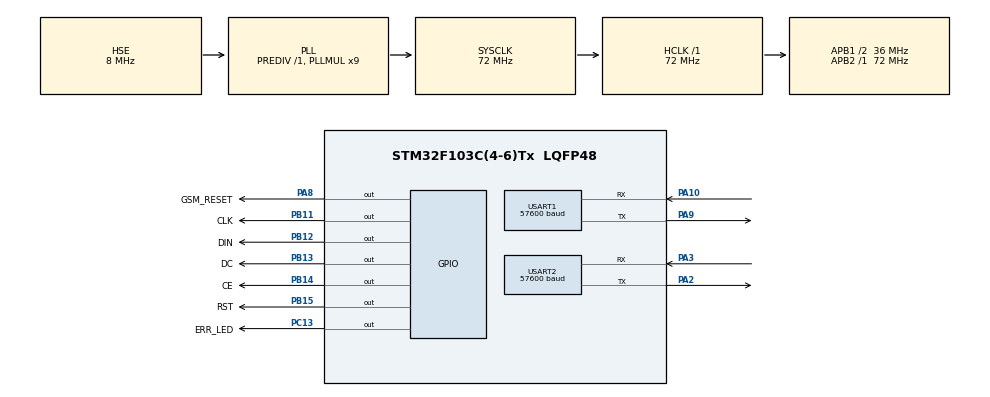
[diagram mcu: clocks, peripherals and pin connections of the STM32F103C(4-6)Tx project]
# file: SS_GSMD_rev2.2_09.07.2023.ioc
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Mcu.Family=STM32F1
Mcu.Name=STM32F103C(4-6)Tx
Mcu.Package=LQFP48
NVIC.PriorityGroup=NVIC_PRIORITYGROUP_4
NVIC.TIM1_UP_IRQn=true\:0\:0\:false\:false\:true\:true\:true\:true
NVIC.USART1_IRQn=true\:0\:0\:false\:false\:true\:true\:true\:true
NVIC.USART2_IRQn=true\:0\:0\:false\:false\:true\:true\:true\:true
PA10.Mode=Asynchronous
PA10.Signal=USART1_RX
PA13.Mode=Serial_Wire
PA13.Signal=SYS_JTMS-SWDIO
PA14.Mode=Serial_Wire
PA14.Signal=SYS_JTCK-SWCLK
PA2.Mode=Asynchronous
PA2.Signal=USART2_TX
PA3.Mode=Asynchronous
PA3.Signal=USART2_RX
PA8.GPIO_Label=GSM_RESET
PA8.Signal=GPIO_Output
PA9.Mode=Asynchronous
PA9.Signal=USART1_TX
PB11.GPIO_Label=CLK
PB11.Signal=GPIO_Output
PB12.GPIO_Label=DIN
PB12.Signal=GPIO_Output
PB13.GPIO_Label=DC
PB13.Signal=GPIO_Output
PB14.GPIO_Label=CE
PB14.Signal=GPIO_Output
PB15.GPIO_Label=RST
PB15.Signal=GPIO_Output
PC13-TAMPER-RTC.GPIO_Label=ERR_LED
PC13-TAMPER-RTC.Signal=GPIO_Output
PD0-OSC_IN.Mode=HSE-External-Oscillator
PD0-OSC_IN.Signal=RCC_OSC_IN
PD1-OSC_OUT.Mode=HSE-External-Oscillator
PD1-OSC_OUT.Signal=RCC_OSC_OUT
ProjectManager.HeapSize=0x200
ProjectManager.StackSize=0x400
ProjectManager.TargetToolchain=STM32CubeIDE
RCC.AHBFreq_Value=72000000
RCC.APB1CLKDivider=RCC_HCLK_DIV2
RCC.APB1Freq_Value=36000000
RCC.APB1TimFreq_Value=72000000
RCC.APB2Freq_Value=72000000
RCC.APB2TimFreq_Value=72000000
RCC.HCLKFreq_Value=72000000
RCC.PLLMUL=RCC_PLL_MUL9
RCC.PLLSourceVirtual=RCC_PLLSOURCE_HSE
RCC.SYSCLKFreq_VALUE=72000000
RCC.SYSCLKSource=RCC_SYSCLKSOURCE_PLLCLK
RCC.USBFreq_Value=72000000
TIM1.Prescaler=65535
USART1.BaudRate=57600
USART1.VirtualMode=VM_ASYNC
USART2.BaudRate=57600
USART2.VirtualMode=VM_ASYNC
VP_TIM1_VS_ClockSourceINT.Mode=Internal
board=custom

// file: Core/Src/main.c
/* USER CODE BEGIN Header */
/**
  ******************************************************************************
  * @file           : main.c
  * @brief          : Main program body
  ******************************************************************************
  * @attention
  *
  * Copyright (c) 2023 STMicroelectronics.
  * All rights reserved.
  *
  * This software is licensed under terms that can be found in the LICENSE file
  * in the root directory of this software component.
  * If no LICENSE file comes with this software, it is provided AS-IS.
  *
  ******************************************************************************
  */
/* USER CODE END Header */
#include "main.h"

/* USER CODE BEGIN Includes */
#include "usart_ring.h"
#include "gsm.h"

#include "nokia5110_LCD.h"
#include "string.h"
/* USER CODE END Includes */

TIM_HandleTypeDef htim1;

UART_HandleTypeDef huart1;
UART_HandleTypeDef huart2;

/* USER CODE BEGIN PV */
volatile uint8_t flag_alarm = 0; //peremennaya dlya trevogi
//volatile uint8_t flag_armdis = 0; //peremennaya dlya postanovki snyatiya
//volatile uint8_t flag_aconoff = 0; //peremennaya dlya vklucheniya otklucheniya pitaniya

volatile uint8_t flag_signal = 0; //peremennaya dlya proverki signala
volatile uint8_t status_counter = 10; //peremennaya schetchika minut do proverki statusa

char dbi[7] = {0,}; //sozdaem masiv simvolov nujnoy dlini i inicaliziruem nulyami
char operator[14] = {0,}; //sozdaem masiv simvolov nujnoy dlini i inicaliziruem nulyami
char bat[4] = {0,}; //sozdaem masiv simvolov nujnoy dlini i inicaliziruem nulyami
char sig[4] = {0,}; //sozdaem masiv simvolov nujnoy dlini i inicaliziruem nulyami

uint32_t numbers[10] = {0,}; //nomera sim karte
/* USER CODE END PV */

void SystemClock_Config(void);
static void MX_GPIO_Init(void);
static void MX_TIM1_Init(void);
static void MX_USART1_UART_Init(void);
static void MX_USART2_UART_Init(void);

/* USER CODE BEGIN 0 */
/////////////////// удалить символы \r и \n из строки //////////////////////
static void clear_string(char *src)
{
	char *dst = NULL;
	if(!src) return;
	uint8_t i = 0;

	for(dst = src; *src; src++)
	{
		if(i < 2 && (*src == '\n' || *src == '\r'))
		{
			i++;
			continue;
		}
		else if(*src == '\n' || *src == '\r') *src = ' ';

		*dst++ = *src;
	}

	*dst = 0;
}

///////////////////// колбек таймера //////////////////////
void HAL_TIM_PeriodElapsedCallback(TIM_HandleTypeDef *htim)
{
	if(htim->Instance == TIM1)
	{
		flag_signal = 1;
	}
}

//////////////// проверка и установка скорости 19200, нужна один раз /////////////////
void chek_speed(void)
{
  for(uint8_t i = 0; i < 7; i++)
  {
	  uint32_t sp = 0;

	  if(i == 0) sp = 2400;
	  else if(i == 1) sp = 4800;
	  else if(i == 2) sp = 9600;
	  else if(i == 3) sp = 19200;
	  else if(i == 4) sp = 38400;
	  else if(i == 5) sp = 57600;
	  else if(i == 6) sp = 115200;

	  huart1.Instance = USART1;
	  huart1.Init.BaudRate = sp;
	  huart1.Init.WordLength = UART_WORDLENGTH_8B;
	  huart1.Init.StopBits = UART_STOPBITS_1;
	  huart1.Init.Parity = UART_PARITY_NONE;
	  huart1.Init.Mode = UART_MODE_TX_RX;
	  huart1.Init.HwFlowCtl = UART_HWCONTROL_NONE;
	  huart1.Init.OverSampling = UART_OVERSAMPLING_16;

	  if (HAL_UART_Init(&huart1) != HAL_OK)
	  {
		  Error_Handler();
	  }

	  char str[16] = {0,};
	  HAL_UART_Transmit(GSM, (uint8_t*)"AT\r\n", strlen("AT\r\n"), 1000);
	  HAL_Delay(300);

	  if(gsm_available()) //если модуль что-то прислал
	  {
		  uint16_t i = 0;

		  while(gsm_available())
		  {
			  str[i++] = gsm_read();
			  if(i > 15) break;
			  HAL_Delay(1);
		  }

		  if(strstr(str, "OK") != NULL)
		  {
			  char buf[64] = {0,};
			  snprintf(buf, 64, "Uart modem was %lu, switched to 57600\n", huart1.Init.BaudRate);
			  HAL_UART_Transmit(DEBUG, (uint8_t*)buf, strlen(buf), 100);
			  HAL_UART_Transmit(GSM, (uint8_t*)"AT+IPR=57600\r\n", strlen("AT+IPR=57600\r\n"), 1000);
			  HAL_Delay(250);
			  MX_USART1_UART_Init();
			  break;
		  }
	  }
  }
}

/* USER CODE END 0 */

int main(void)
{

  /* MCU Configuration--------------------------------------------------------*/

  /* Reset of all peripherals, Initializes the Flash interface and the Systick. */
  HAL_Init();

  /* Configure the system clock */
  SystemClock_Config();

  /* Initialize all configured peripherals */
  MX_GPIO_Init();
  MX_TIM1_Init();
  MX_USART1_UART_Init();
  MX_USART2_UART_Init();
  /* USER CODE BEGIN 2 */

  welcome();

  __HAL_UART_ENABLE_IT(GSM, UART_IT_RXNE);
  __HAL_UART_ENABLE_IT(DEBUG, UART_IT_RXNE);

  starting();

  char buf[GSM_RX_BUFFER_SIZE] = {0,};
  char str[GSM_RX_BUFFER_SIZE] = {0,};

  for (int var = 0; var < 10; ++var)
  {
		if(numbers[var] != 0)
		{
		snprintf(str, 15, "Num%i 0%lu", var, numbers[var]);
		HAL_UART_Transmit(DEBUG, (uint8_t*)str, strlen(str), 1000);
		HAL_UART_Transmit(DEBUG, (uint8_t*)"\n", strlen("\n"), 1000);
		LCD_print(str, 0, 2);
		HAL_Delay(1000);
		}
  }
  LCD_clrScr(); // очистить экран
  LCD_invertText(false);
  HAL_GPIO_WritePin(ERR_LED_GPIO_Port, ERR_LED_Pin, GPIO_PIN_RESET);

  HAL_TIM_Base_Start_IT(&htim1); // запуск таймера
  /* USER CODE END 2 */

  /* Infinite loop */
  /* USER CODE BEGIN WHILE */
  while (1)
  {
    if(flag_alarm == 1)
	  {
		  HAL_GPIO_WritePin(ERR_LED_GPIO_Port, ERR_LED_Pin, GPIO_PIN_SET);
		  HAL_TIM_Base_Stop_IT(&htim1); // остановка таймера
		  alarm();
		  flag_alarm = 0;
		  HAL_TIM_Base_Start_IT(&htim1); // запуск таймера
		  HAL_GPIO_WritePin(ERR_LED_GPIO_Port, ERR_LED_Pin, GPIO_PIN_RESET);
	  }

		if(flag_signal == 1)
		{
			flag_signal = 0;
			LCD_clrScr(); // очистить экран
			HAL_GPIO_WritePin(ERR_LED_GPIO_Port, ERR_LED_Pin, GPIO_PIN_SET);
			set_comand(ATCSQ); // уровень сигнала. Может быть в диапазоне 0..31, чем больше тем лучше. 99 значит отсутствие сигнала.
			set_comand(ATCBC); // // naprijenie pitaniya
			LCD_print("LABIRINT", 18, 0);
			LCD_print("ELECTRIC", 18, 1);
			LCD_print(operator, 0, 3); //vivodim na ekran soobshenie iz masiva operator po ukazannim koordinatam
			LCD_print("NET          %", 0, 4);
			LCD_print(sig, 60, 4); //vivodim na ekran soobshenie iz masiva dbi po ukazannim koordinatam
			LCD_print("BAT          %", 0, 5);
			LCD_print(bat, 60, 5);

			status_counter--;
			if(status_counter == 0)
			{
				status_counter = 10;
				LCD_invertText(true);
				LCD_print(" status check ", 0, 2);
				HAL_Delay(500);
				set_comand(ATCPAS);  // проверка статуса модема
				LCD_print("registr  check", 0, 2);
				HAL_Delay(500);
				set_comand(ATCREG);  // проверка регистрации в сети - должен вернуть  +CREG: 0,1
				LCD_clrScr(); // очистить экран
				LCD_invertText(false);
				get_date_time(); // будет раз в секунду выводить время
				LCD_print("LABIRINT", 18, 0);
				LCD_print("ELECTRIC", 18, 1);
				LCD_print(operator, 0, 3); //vivodim na ekran soobshenie iz masiva operator po ukazannim koordinatam
				LCD_print("NET          %", 0, 4);
				LCD_print(sig, 60, 4); //vivodim na ekran soobshenie iz masiva dbi po ukazannim koordinatam
				LCD_print("BAT          %", 0, 5);
				LCD_print(bat, 60, 5);
			}
			HAL_GPIO_WritePin(ERR_LED_GPIO_Port, ERR_LED_Pin, GPIO_PIN_RESET);
		}

		if(gsm_available()) //если модуль что-то прислал
		{
			uint16_t i = 0;
			uint8_t fdbg = 1;
			memset(buf, 0, GSM_RX_BUFFER_SIZE);
			HAL_Delay(50);

			while(gsm_available())
			{
				buf[i++] = gsm_read();
				if(i > GSM_RX_BUFFER_SIZE - 1) break;
				HAL_Delay(1);
			}

			clear_string(buf); // очищаем строку от символов \r и \n

			/////////////////// НАЧ�?НАЕМ РАСПОЗНАВАТЬ ЧТО ПР�?СЛАЛ МОДУЛЬ /////////////////////
			if(strstr(buf, "RING") != NULL) // ЕСЛ�? ЭТО ЗВОНОК
			{

			}
			else if(strstr(buf, "+CMT:") != NULL) // ЕСЛ�? ЭТО SMS
			{
				if(strstr(buf, "77057066") != NULL) // проверяем от кого смс
				{
					HAL_UART_Transmit(DEBUG, (uint8_t*)"Sms my number\n", strlen("Sms my number\n"), 1000);
					LCD_invertText(true);
					LCD_print("SMS           ", 0, 2);
					//LCD_print(num_1, 30, 2);
					LCD_invertText(false);
					// что-то делаем или ищем какую-то строку, которую мы послали в смс, например слово "Hello"
					if(strstr(buf, "Hello") != NULL)
					{
						HAL_UART_Transmit(DEBUG, (uint8_t*)"Reciv Hello\n", strlen("Reciv Hello\n"), 1000);
						// что-то делаем
					}
					else if(strstr(buf, "Call") != NULL) // если прилетело слово "Call" то звоним
					{
						call(); // номер указать в файле gsm.c
					}
					else if(strstr(buf, "Money") != NULL) // если отпрвить sms со словом "Money", то в ответ придёт смс с балансом (деньги) на модеме
					{
						balance(); // посылаем команду узнать баланс (мтс)
					}
				}
				else
				{
					HAL_UART_Transmit(DEBUG, (uint8_t*)"Unknow number sms\n", strlen("Unknow number sms\n"), 1000);
				}
			}
			else if(strstr(buf, "+CUSD") != NULL)  // ЕСЛ�? ЭТО СТРОКА С БАЛАНСОМ
			{
				char *p = NULL;

				if((p = strstr(buf, "Balance")) != NULL) // ищем слово "Balance"
				{
					// отправляем смс с балансом на указанный телефон, укажите нужный номер и раскомментируйте этот блок
					/*snprintf(str, GSM_RX_BUFFER_SIZE, "AT+CMGS=\"+79839655557\"\r\n"); // номер
					HAL_UART_Transmit(GSM, (uint8_t*)str, strlen(str), 1000);
					HAL_Delay(100);
					snprintf(str, GSM_RX_BUFFER_SIZE, "%s", p); // текст смс
					HAL_UART_Transmit(GSM, (uint8_t*)str, strlen(str), 1000);
					p = 0;
					HAL_Delay(100);
					snprintf(str, GSM_RX_BUFFER_SIZE, "%c", (char)26); // символ ctrl-z
					HAL_UART_Transmit(GSM, (uint8_t*)str, strlen(str), 1000);*/
					// блок закомментирован чтоб модуль не слал смски пока тестируете
				}
			}
			else if(strstr(buf, "+DTMF") != NULL)  //ЕСЛ�? ЭТО DTMF С�?ГНАЛ
			{
				if(strstr(buf, "0") != NULL) // если пришёл сигнал кнопки 0
				{
					// что-то делаем
					HAL_UART_Transmit(DEBUG, (uint8_t*)"DTMF Button 0\n", strlen("DTMF Button 0\n"), 1000);
				}
				else if(strstr(buf, "1") != NULL) // если пришёл сигнал кнопки 1
				{
					// что-то делаем
					HAL_UART_Transmit(DEBUG, (uint8_t*)"DTMF Button 1\n", strlen("DTMF Button 1\n"), 1000);
				}
				// и т.д.

				disable_connection(); // разрываем соединение, или не разрываем (в зависимости от того, что вам нужно)
			}
			else if(strstr(buf, "+CCLK") != NULL)  // ЕСЛ�? ЭТО ДАТА/ВРЕМЯ
			{
				replac_string(buf);
				char res[32] = {0,};

				for(uint8_t i = 0; i < GSM_RX_BUFFER_SIZE; i++)
				{
					if(buf[i] == '"')
					{
						i++;
						for(uint8_t j = 0; j < 20; i++, j++)
						{
							if(buf[i] == '+')
							{
								buf[i] = 0;
								break;
							}

							if(buf[i] == ',') buf[i] = ' ';
							res[j] = buf[i];
						}

						break;
					}
				}

				snprintf(str, GSM_RX_BUFFER_SIZE, "DateTime %s\n", res);
				HAL_UART_Transmit(DEBUG, (uint8_t*)str, strlen(str), 1000);
				fdbg = 0;
			}

			if(fdbg)
			{
				snprintf(str, GSM_RX_BUFFER_SIZE, "%s\n", buf);
				HAL_UART_Transmit(DEBUG, (uint8_t*)str, strlen(str), 1000);
			}
		}

		////////////////////////////////////// DEBUG ////////////////////////////////////////
		if(dbg_available()) //если послали в терминал какую-то команду, то она перенаправиться в модем
		{
			uint16_t i = 0;
			memset(buf, 0, GSM_RX_BUFFER_SIZE);

			while(dbg_available())
			{
				buf[i++] = dbg_read();
				if(i > GSM_RX_BUFFER_SIZE - 1) break;
				HAL_Delay(1);
			}

			clear_string(buf);
			snprintf(str, GSM_RX_BUFFER_SIZE, "%s\r\n", buf);
			HAL_UART_Transmit(GSM, (uint8_t*)str, strlen(str), 1000);
    }
    /* USER CODE END WHILE */

  }
}

void SystemClock_Config(void)
{
  RCC_OscInitTypeDef RCC_OscInitStruct = {0};
  RCC_ClkInitTypeDef RCC_ClkInitStruct = {0};

  /** Initializes the RCC Oscillators according to the specified parameters
  * in the RCC_OscInitTypeDef structure.
  */
  RCC_OscInitStruct.OscillatorType = RCC_OSCILLATORTYPE_HSE;
  RCC_OscInitStruct.HSEState = RCC_HSE_ON;
  RCC_OscInitStruct.HSEPredivValue = RCC_HSE_PREDIV_DIV1;
  RCC_OscInitStruct.HSIState = RCC_HSI_ON;
  RCC_OscInitStruct.PLL.PLLState = RCC_PLL_ON;
  RCC_OscInitStruct.PLL.PLLSource = RCC_PLLSOURCE_HSE;
  RCC_OscInitStruct.PLL.PLLMUL = RCC_PLL_MUL9;
  if (HAL_RCC_OscConfig(&RCC_OscInitStruct) != HAL_OK)
  {
    Error_Handler();
  }

  /** Initializes the CPU, AHB and APB buses clocks
  */
  RCC_ClkInitStruct.ClockType = RCC_CLOCKTYPE_HCLK|RCC_CLOCKTYPE_SYSCLK
                              |RCC_CLOCKTYPE_PCLK1|RCC_CLOCKTYPE_PCLK2;
  RCC_ClkInitStruct.SYSCLKSource = RCC_SYSCLKSOURCE_PLLCLK;
  RCC_ClkInitStruct.AHBCLKDivider = RCC_SYSCLK_DIV1;
  RCC_ClkInitStruct.APB1CLKDivider = RCC_HCLK_DIV2;
  RCC_ClkInitStruct.APB2CLKDivider = RCC_HCLK_DIV1;

  if (HAL_RCC_ClockConfig(&RCC_ClkInitStruct, FLASH_LATENCY_2) != HAL_OK)
  {
    Error_Handler();
  }
}

static void MX_TIM1_Init(void)
{

  TIM_ClockConfigTypeDef sClockSourceConfig = {0};
  TIM_MasterConfigTypeDef sMasterConfig = {0};

  htim1.Instance = TIM1;
  htim1.Init.Prescaler = 65535;
  htim1.Init.CounterMode = TIM_COUNTERMODE_UP;
  htim1.Init.Period = 65535;
  htim1.Init.ClockDivision = TIM_CLOCKDIVISION_DIV1;
  htim1.Init.RepetitionCounter = 0;
  htim1.Init.AutoReloadPreload = TIM_AUTORELOAD_PRELOAD_DISABLE;
  if (HAL_TIM_Base_Init(&htim1) != HAL_OK)
  {
    Error_Handler();
  }
  sClockSourceConfig.ClockSource = TIM_CLOCKSOURCE_INTERNAL;
  if (HAL_TIM_ConfigClockSource(&htim1, &sClockSourceConfig) != HAL_OK)
  {
    Error_Handler();
  }
  sMasterConfig.MasterOutputTrigger = TIM_TRGO_RESET;
  sMasterConfig.MasterSlaveMode = TIM_MASTERSLAVEMODE_DISABLE;
  if (HAL_TIMEx_MasterConfigSynchronization(&htim1, &sMasterConfig) != HAL_OK)
  {
    Error_Handler();
  }

}

static void MX_USART1_UART_Init(void)
{

  huart1.Instance = USART1;
  huart1.Init.BaudRate = 57600;
  huart1.Init.WordLength = UART_WORDLENGTH_8B;
  huart1.Init.StopBits = UART_STOPBITS_1;
  huart1.Init.Parity = UART_PARITY_NONE;
  huart1.Init.Mode = UART_MODE_TX_RX;
  huart1.Init.HwFlowCtl = UART_HWCONTROL_NONE;
  huart1.Init.OverSampling = UART_OVERSAMPLING_16;
  if (HAL_UART_Init(&huart1) != HAL_OK)
  {
    Error_Handler();
  }

}

static void MX_USART2_UART_Init(void)
{

  huart2.Instance = USART2;
  huart2.Init.BaudRate = 57600;
  huart2.Init.WordLength = UART_WORDLENGTH_8B;
  huart2.Init.StopBits = UART_STOPBITS_1;
  huart2.Init.Parity = UART_PARITY_NONE;
  huart2.Init.Mode = UART_MODE_TX_RX;
  huart2.Init.HwFlowCtl = UART_HWCONTROL_NONE;
  huart2.Init.OverSampling = UART_OVERSAMPLING_16;
  if (HAL_UART_Init(&huart2) != HAL_OK)
  {
    Error_Handler();
  }

}

static void MX_GPIO_Init(void)
{
  GPIO_InitTypeDef GPIO_InitStruct = {0};

  /* GPIO Ports Clock Enable */
  __HAL_RCC_GPIOC_CLK_ENABLE();
  __HAL_RCC_GPIOD_CLK_ENABLE();
  __HAL_RCC_GPIOA_CLK_ENABLE();
  __HAL_RCC_GPIOB_CLK_ENABLE();

  /*Configure GPIO pin Output Level */
  HAL_GPIO_WritePin(ERR_LED_GPIO_Port, ERR_LED_Pin, GPIO_PIN_RESET);

  /*Configure GPIO pin Output Level */
  HAL_GPIO_WritePin(GPIOB, CLK_Pin|DIN_Pin|DC_Pin|CE_Pin
                          |RST_Pin, GPIO_PIN_RESET);

  /*Configure GPIO pin Output Level */
  HAL_GPIO_WritePin(GSM_RESET_GPIO_Port, GSM_RESET_Pin, GPIO_PIN_RESET);

  /*Configure GPIO pin : ERR_LED_Pin */
  GPIO_InitStruct.Pin = ERR_LED_Pin;
  GPIO_InitStruct.Mode = GPIO_MODE_OUTPUT_PP;
  GPIO_InitStruct.Pull = GPIO_NOPULL;
  GPIO_InitStruct.Speed = GPIO_SPEED_FREQ_LOW;
  HAL_GPIO_Init(ERR_LED_GPIO_Port, &GPIO_InitStruct);

  /*Configure GPIO pins : CLK_Pin DIN_Pin DC_Pin CE_Pin
                           RST_Pin */
  GPIO_InitStruct.Pin = CLK_Pin|DIN_Pin|DC_Pin|CE_Pin
                          |RST_Pin;
  GPIO_InitStruct.Mode = GPIO_MODE_OUTPUT_PP;
  GPIO_InitStruct.Pull = GPIO_NOPULL;
  GPIO_InitStruct.Speed = GPIO_SPEED_FREQ_LOW;
  HAL_GPIO_Init(GPIOB, &GPIO_InitStruct);

  /*Configure GPIO pin : GSM_RESET_Pin */
  GPIO_InitStruct.Pin = GSM_RESET_Pin;
  GPIO_InitStruct.Mode = GPIO_MODE_OUTPUT_PP;
  GPIO_InitStruct.Pull = GPIO_NOPULL;
  GPIO_InitStruct.Speed = GPIO_SPEED_FREQ_LOW;
  HAL_GPIO_Init(GSM_RESET_GPIO_Port, &GPIO_InitStruct);

}

void Error_Handler(void)
{
  __disable_irq();
  while (1)
  {
  }
}
